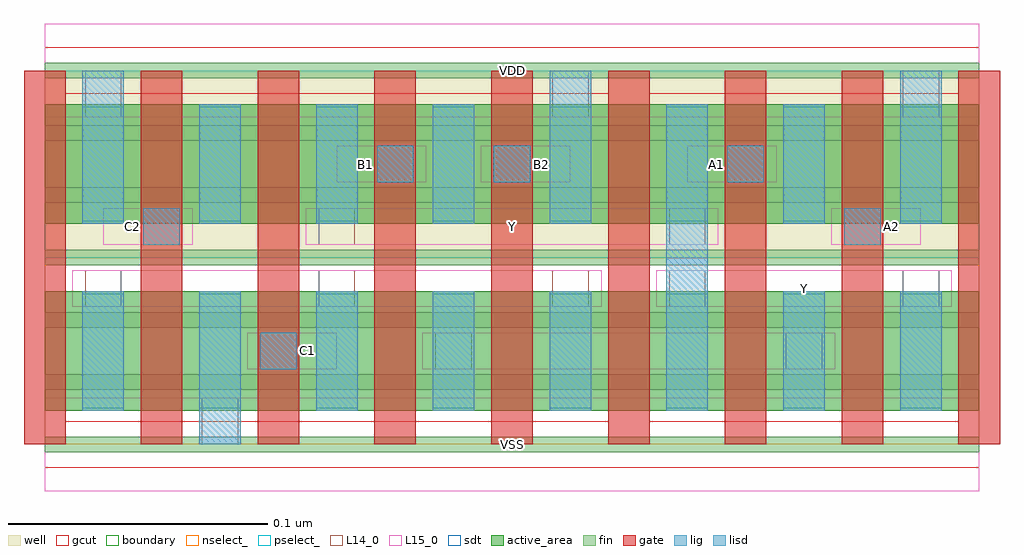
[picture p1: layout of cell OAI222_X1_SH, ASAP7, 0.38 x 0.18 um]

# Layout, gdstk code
import gdstk
lib = gdstk.Library(unit=1e-6, precision=2.5e-10)
def R(c, l, rs):  # rectangles x0, y0, x1, y1
    for r in rs: c.add(gdstk.rectangle(r[:2], r[2:], *l))
def A(c, l, x, y, w, h, nx, ny, dx, dy):  # array of equal rectangles
    R(c, l, [(x+i*dx, y+j*dy, x+i*dx+w, y+j*dy+h) for i in range(nx) for j in range(ny)])
def P(c, l, *ps):  # polygons
    for p in ps: c.add(gdstk.Polygon(p, *l))
well = (1, 0)
fin = (2, 0)
gate = (7, 0)
gcut = (10, 0)
active_area = (11, 0)
nselect_ = (12, 0)
pselect_ = (13, 0)
L14_0 = (14, 0)
L15_0 = (15, 0)
lig = (16, 0)
lisd = (17, 0)
sdt = (88, 0)
boundary = (100, 0)

oai222_x1_sh = lib.new_cell('OAI222_X1_SH')
R(oai222_x1_sh, well, [(0,0.072,0.36,0.144)])
A(oai222_x1_sh, fin, 0, -0.003, 0.36, 0.006, 1, 7, 0, 0.024)
A(oai222_x1_sh, gate, -0.008, 0, 0.016, 0.144, 9, 1, 0.045, 0)
P(oai222_x1_sh, gcut, [(0,-0.009),(0,0),(-0.008,0),(-0.008,0.135),(0.008,0.135),(0.008,0.009),(0.217,0.009),(0.217,0.135),(0.233,0.135),(0.233,0.009),(0.352,0.009),(0.352,0.135),(-0.008,0.135),(-0.008,0.144),(0,0.144),(0,0.153),(0.36,0.153),(0.36,0.144),(0.368,0.144),(0.368,0),(0.36,0),(0.36,-0.009)])
R(oai222_x1_sh, active_area, [(0,0.013,0.36,0.059), (0,0.085,0.36,0.131)])
R(oai222_x1_sh, nselect_, [(0,0,0.36,0.072)])
R(oai222_x1_sh, pselect_, [(0,0.072,0.36,0.144)])
A(oai222_x1_sh, L14_0, 0.0155, 0.053, 0.014, 0.014, 3, 1, 0.09, 0)
R(oai222_x1_sh, L14_0, [(0.0605,0,0.0745,0.018), (0.083,0.029,0.097,0.043), (0.1505,0.029,0.1645,0.043), (0.2855,0.029,0.2995,0.043), (0.2405,0.053,0.2545,0.067), (0.3305,0.053,0.3445,0.067), (0.038,0.077,0.052,0.091), (0.1055,0.077,0.1195,0.091), (0.2405,0.077,0.2545,0.091), (0.308,0.077,0.322,0.091), (0.128,0.101,0.142,0.115), (0.173,0.101,0.187,0.115), (0.263,0.101,0.277,0.115), (0.0155,0.126,0.0295,0.144), (0.1955,0.126,0.2095,0.144), (0.3305,0.126,0.3445,0.144)])
R(oai222_x1_sh, L15_0, [(0,-0.018,0.36,0.018), (0.078,0.029,0.1125,0.043), (0.1455,0.029,0.3045,0.043), (0.0105,0.053,0.2145,0.067), (0.2355,0.053,0.3495,0.067), (0.0225,0.077,0.057,0.091), (0.1005,0.077,0.2595,0.091), (0.303,0.077,0.3375,0.091), (0.1125,0.101,0.147,0.115), (0.168,0.101,0.2025,0.115), (0.2475,0.101,0.282,0.115), (0,0.126,0.36,0.162)])
R(oai222_x1_sh, lig, [(0.083,0.029,0.097,0.043), (0.038,0.077,0.052,0.091), (0.308,0.077,0.322,0.091), (0.128,0.101,0.142,0.115), (0.173,0.101,0.187,0.115), (0.263,0.101,0.277,0.115)])
A(oai222_x1_sh, lisd, 0.1045, 0.013, 0.016, 0.046, 3, 1, 0.045, 0)
A(oai222_x1_sh, lisd, 0.0595, 0.085, 0.016, 0.046, 3, 1, 0.045, 0)
R(oai222_x1_sh, lisd, [(0.0595,0,0.0755,0.059), (0.0145,0.013,0.0305,0.059), (0.2395,0.013,0.2555,0.131), (0.2845,0.013,0.3005,0.059), (0.3295,0.013,0.3455,0.059), (0.0145,0.085,0.0305,0.144), (0.1945,0.085,0.2105,0.144), (0.2845,0.085,0.3005,0.131), (0.3295,0.085,0.3455,0.144)])
A(oai222_x1_sh, sdt, 0.0145, 0.014, 0.016, 0.044, 8, 2, 0.045, 0.072)
R(oai222_x1_sh, boundary, [(0,0,0.36,0.144)])
oai222_x1_sh.add(gdstk.Label('A1', (0.2588,0.108), layer=15, texttype=251))
oai222_x1_sh.add(gdstk.Label('VSS', (0.18,0), layer=15, texttype=251))
oai222_x1_sh.add(gdstk.Label('VDD', (0.18,0.144), layer=15, texttype=251))
oai222_x1_sh.add(gdstk.Label('B2', (0.1913,0.108), layer=15, texttype=251))
oai222_x1_sh.add(gdstk.Label('VSS', (0.18,0), layer=15, texttype=251))
oai222_x1_sh.add(gdstk.Label('VDD', (0.18,0.144), layer=15, texttype=251))
oai222_x1_sh.add(gdstk.Label('A2', (0.3263,0.084), layer=15, texttype=251))
oai222_x1_sh.add(gdstk.Label('VSS', (0.18,0), layer=15, texttype=251))
oai222_x1_sh.add(gdstk.Label('VDD', (0.18,0.144), layer=15, texttype=251))
oai222_x1_sh.add(gdstk.Label('Y', (0.18,0.084), layer=15, texttype=251))
oai222_x1_sh.add(gdstk.Label('Y', (0.2925,0.06), layer=15, texttype=251))
oai222_x1_sh.add(gdstk.Label('VSS', (0.18,0), layer=15, texttype=251))
oai222_x1_sh.add(gdstk.Label('VDD', (0.18,0.144), layer=15, texttype=251))
oai222_x1_sh.add(gdstk.Label('B1', (0.1238,0.108), layer=15, texttype=251))
oai222_x1_sh.add(gdstk.Label('VSS', (0.18,0), layer=15, texttype=251))
oai222_x1_sh.add(gdstk.Label('VDD', (0.18,0.144), layer=15, texttype=251))
oai222_x1_sh.add(gdstk.Label('C2', (0.0338,0.084), layer=15, texttype=251))
oai222_x1_sh.add(gdstk.Label('VSS', (0.18,0), layer=15, texttype=251))
oai222_x1_sh.add(gdstk.Label('VDD', (0.18,0.144), layer=15, texttype=251))
oai222_x1_sh.add(gdstk.Label('C1', (0.1013,0.036), layer=15, texttype=251))
oai222_x1_sh.add(gdstk.Label('VSS', (0.18,0), layer=15, texttype=251))
oai222_x1_sh.add(gdstk.Label('VDD', (0.18,0.144), layer=15, texttype=251))
oai222_x1_sh.add(gdstk.Label('VSS', (0.18,0), layer=3, texttype=251))
oai222_x1_sh.add(gdstk.Label('VSS', (0.18,0), layer=3, texttype=251))
oai222_x1_sh.add(gdstk.Label('VSS', (0.18,0), layer=3, texttype=251))
oai222_x1_sh.add(gdstk.Label('VSS', (0.18,0), layer=3, texttype=251))
oai222_x1_sh.add(gdstk.Label('VSS', (0.18,0), layer=3, texttype=251))
oai222_x1_sh.add(gdstk.Label('VSS', (0.18,0), layer=3, texttype=251))
oai222_x1_sh.add(gdstk.Label('VSS', (0.18,0), layer=3, texttype=251))
oai222_x1_sh.add(gdstk.Label('VDD', (0.18,0.144), layer=1, texttype=251))
oai222_x1_sh.add(gdstk.Label('VDD', (0.18,0.144), layer=1, texttype=251))
oai222_x1_sh.add(gdstk.Label('VDD', (0.18,0.144), layer=1, texttype=251))
oai222_x1_sh.add(gdstk.Label('VDD', (0.18,0.144), layer=1, texttype=251))
oai222_x1_sh.add(gdstk.Label('VDD', (0.18,0.144), layer=1, texttype=251))
oai222_x1_sh.add(gdstk.Label('VDD', (0.18,0.144), layer=1, texttype=251))
oai222_x1_sh.add(gdstk.Label('VDD', (0.18,0.144), layer=1, texttype=251))

lib.write_gds('OAI222_X1_SH.gds')
